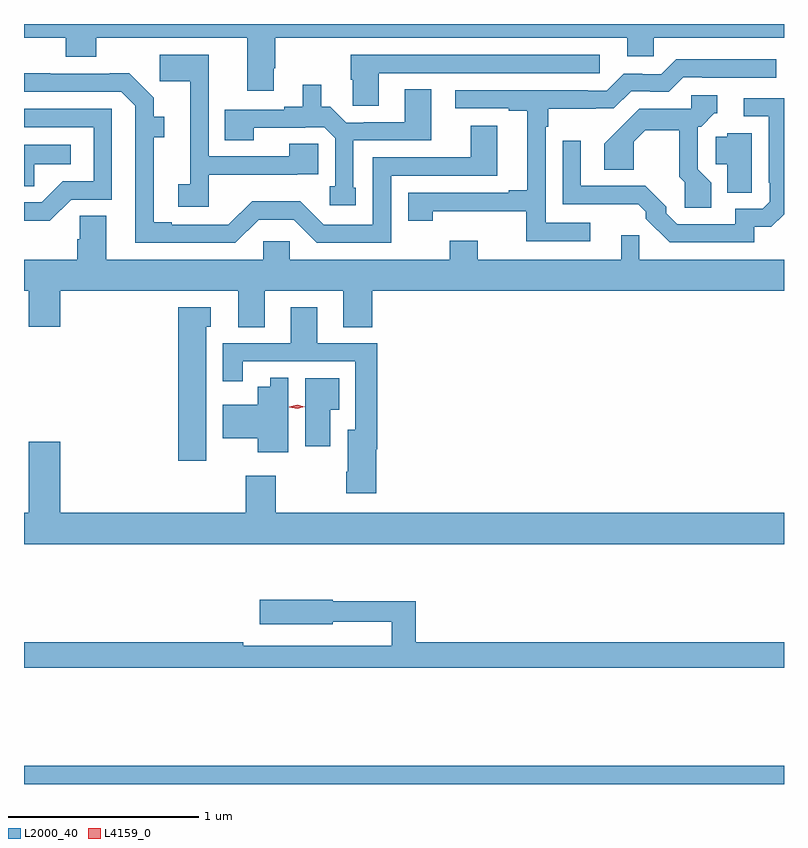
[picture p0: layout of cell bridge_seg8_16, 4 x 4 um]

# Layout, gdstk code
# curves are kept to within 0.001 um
import gdstk
lib = gdstk.Library(unit=1e-6, precision=1e-09)
def R(c, l, rs):  # rectangles x0, y0, x1, y1
    for r in rs: c.add(gdstk.rectangle(r[:2], r[2:], *l))
def P(c, l, *ps):  # polygons
    for p in ps: c.add(gdstk.Polygon(p, *l))
L2000_40 = (2000, 40)
L4159_0 = (4159, 0)

bridge_seg8_16 = lib.new_cell('bridge_seg8_16')
R(bridge_seg8_16, L2000_40, [(908.238,1157.861,912.238,1157.956)])
P(bridge_seg8_16, L2000_40, [(909.553,1161.628),(909.561,1161.628),(909.561,1161.788),(911.414,1161.788),(911.414,1161.69),(911.553,1161.69),(911.553,1161.788),(912.238,1161.788),(912.238,1161.861),(908.238,1161.861),(908.238,1161.788),(908.459,1161.788),(908.459,1161.689),(908.619,1161.689),(908.619,1161.788),(909.413,1161.788),(909.413,1161.51),(909.553,1161.51)],
  [(909.21,1161.068),(909.677,1161.068),(909.677,1161.069),(909.787,1161.069),(909.787,1161.23),(909.634,1161.23),(909.634,1161.165),(909.21,1161.165),(909.21,1161.7),(908.952,1161.7),(908.952,1161.561),(909.113,1161.561),(909.113,1161.018),(909.051,1161.018),(909.051,1160.898),(909.21,1160.898)],
  [(910.105,1161.603),(911.269,1161.603),(911.269,1161.699),(909.958,1161.699),(909.958,1161.567),(909.967,1161.567),(909.967,1161.43),(910.105,1161.43)],
  [(911.218,1160.814),(910.983,1160.814),(910.983,1161.32),(910.996,1161.32),(910.996,1161.414),(911.246,1161.414),(911.246,1161.417),(911.343,1161.417),(911.433,1161.507),(911.534,1161.507),(911.534,1161.504),(911.631,1161.504),(911.709,1161.582),(911.809,1161.582),(911.809,1161.579),(912.196,1161.579),(912.196,1161.675),(911.671,1161.676),(911.592,1161.597),(911.492,1161.597),(911.492,1161.6),(911.394,1161.6),(911.304,1161.51),(911.204,1161.51),(911.204,1161.513),(910.509,1161.513),(910.509,1161.417),(910.79,1161.417),(910.79,1161.405),(910.886,1161.405),(910.886,1160.986),(910.79,1160.986),(910.79,1160.973),(910.26,1160.973),(910.26,1160.826),(910.388,1160.826),(910.388,1160.876),(910.882,1160.876),(910.882,1160.718),(911.218,1160.718)],
  [(909.474,1160.832),(909.657,1160.832),(909.78,1160.709),(910.17,1160.709),(910.17,1161.063),(910.729,1161.063),(910.729,1161.325),(910.589,1161.325),(910.589,1161.159),(910.074,1161.159),(910.074,1160.805),(909.816,1160.805),(909.692,1160.929),(909.438,1160.929),(909.314,1160.805),(909.016,1160.805),(909.016,1160.818),(908.92,1160.818),(908.92,1161.264),(908.977,1161.264),(908.977,1161.374),(908.921,1161.374),(908.921,1161.472),(908.791,1161.602),(908.69,1161.602),(908.69,1161.6),(908.375,1161.6),(908.375,1161.602),(908.238,1161.602),(908.238,1161.504),(908.751,1161.504),(908.823,1161.432),(908.823,1160.709),(909.351,1160.709)],
  [(909.985,1161),(909.972,1161),(909.972,1161.249),(910.381,1161.249),(910.381,1161.518),(910.241,1161.518),(910.241,1161.345),(910.027,1161.345),(910.027,1161.342),(909.933,1161.342),(909.849,1161.426),(909.802,1161.426),(909.802,1161.541),(909.704,1161.541),(909.704,1161.426),(909.608,1161.426),(909.608,1161.411),(909.295,1161.411),(909.295,1161.25),(909.447,1161.25),(909.447,1161.315),(909.719,1161.315),(909.719,1161.318),(909.819,1161.318),(909.876,1161.261),(909.876,1161.006),(909.846,1161.006),(909.846,1160.907),(909.985,1160.907)],
  [(911.854,1161.026),(911.784,1161.096),(911.784,1161.321),(911.802,1161.321),(911.871,1161.39),(911.887,1161.39),(911.887,1161.486),(911.751,1161.486),(911.751,1161.414),(911.477,1161.414),(911.38,1161.317),(911.379,1161.318),(911.292,1161.23),(911.292,1161.094),(911.446,1161.094),(911.446,1161.242),(911.507,1161.303),(911.686,1161.303),(911.686,1161.058),(911.715,1161.029),(911.715,1160.895),(911.854,1160.895)],
  [(912.081,1160.793),(912.17,1160.793),(912.238,1160.86),(912.238,1161.471),(912.027,1161.471),(912.027,1161.375),(912.159,1161.375),(912.159,1161.025),(912.162,1161.025),(912.162,1160.925),(912.126,1160.889),(911.982,1160.889),(911.982,1160.808),(911.676,1160.808),(911.619,1160.865),(911.619,1160.899),(911.509,1161.009),(911.169,1161.009),(911.169,1161.247),(911.073,1161.247),(911.073,1160.913),(911.47,1160.912),(911.511,1160.872),(911.511,1160.837),(911.636,1160.712),(912.081,1160.712)],
  [(908.487,1160.937),(908.7,1160.937),(908.7,1161.414),(908.238,1161.414),(908.238,1161.318),(908.604,1161.318),(908.604,1161.033),(908.442,1161.033),(908.331,1160.922),(908.238,1160.922),(908.238,1160.825),(908.374,1160.825)],
  [(912.069,1161.286),(911.94,1161.286),(911.94,1161.267),(911.88,1161.267),(911.88,1161.122),(911.939,1161.122),(911.939,1160.974),(912.069,1160.974)],
  [(908.293,1161.122),(908.485,1161.122),(908.485,1161.226),(908.238,1161.226),(908.238,1161.008),(908.293,1161.008)],
  [(908.238,1160.456),(908.264,1160.456),(908.264,1160.268),(908.428,1160.268),(908.428,1160.456),(909.365,1160.456),(909.365,1160.266),(909.505,1160.266),(909.505,1160.456),(909.917,1160.456),(909.917,1160.266),(910.07,1160.266),(910.07,1160.456),(912.238,1160.456),(912.238,1160.62),(911.477,1160.62),(911.477,1160.75),(911.381,1160.75),(911.381,1160.62),(910.627,1160.62),(910.627,1160.719),(910.48,1160.719),(910.48,1160.62),(909.636,1160.62),(909.636,1160.718),(909.498,1160.718),(909.498,1160.62),(908.671,1160.62),(908.671,1160.852),(908.532,1160.852),(908.532,1160.729),(908.519,1160.729),(908.519,1160.62),(908.238,1160.62)],
  [(909.196,1160.268),(909.22,1160.268),(909.22,1160.371),(909.05,1160.371),(909.05,1159.563),(909.196,1159.563)],
  [(910.091,1159.622),(910.097,1159.622),(910.097,1160.181),(909.781,1160.181),(909.781,1160.371),(909.641,1160.371),(909.641,1160.181),(909.284,1160.181),(909.284,1159.98),(909.388,1159.98),(909.388,1160.085),(909.981,1160.085),(909.981,1159.726),(909.941,1159.726),(909.941,1159.504),(909.934,1159.504),(909.934,1159.392),(910.091,1159.392)],
  [(909.63,1160),(909.533,1160),(909.533,1159.951),(909.467,1159.951),(909.467,1159.858),(909.284,1159.858),(909.284,1159.682),(909.467,1159.682),(909.467,1159.607),(909.63,1159.607)],
  [(909.85,1159.832),(909.896,1159.832),(909.896,1159.996),(909.719,1159.996),(909.719,1159.638),(909.85,1159.638)],
  [(912.238,1159.288),(909.564,1159.288),(909.564,1159.483),(909.404,1159.483),(909.404,1159.288),(908.428,1159.288),(908.428,1159.663),(908.264,1159.663),(908.264,1159.288),(908.238,1159.288),(908.238,1159.124),(912.238,1159.124)],
  [(912.238,1158.608),(910.301,1158.608),(910.301,1158.823),(909.864,1158.823),(909.864,1158.831),(909.48,1158.831),(909.48,1158.701),(909.864,1158.701),(909.864,1158.714),(910.173,1158.714),(910.173,1158.588),(909.392,1158.588),(909.392,1158.608),(908.238,1158.608),(908.238,1158.472),(912.238,1158.472)])
P(bridge_seg8_16, L4159_0, [(909.676,1159.836),(909.635,1159.845),(909.635,1159.846),(909.635,1159.846),(909.675,1159.856),(909.716,1159.847),(909.716,1159.847),(909.716,1159.847)])

lib.write_gds('bridge_seg8_16.gds')
